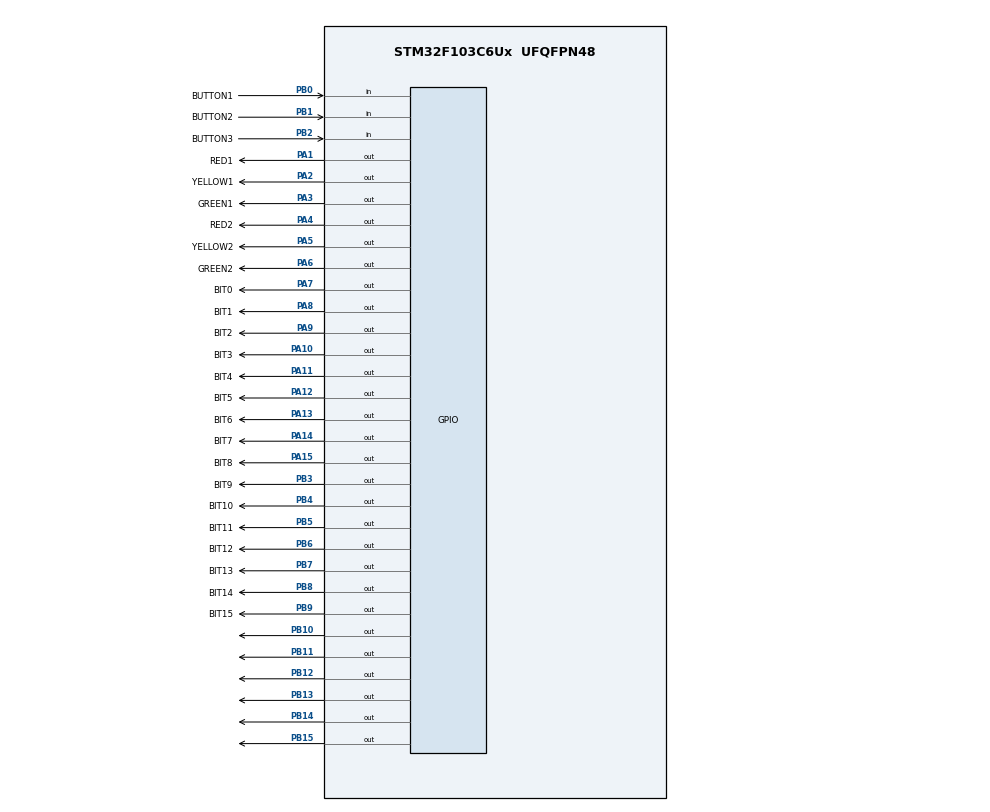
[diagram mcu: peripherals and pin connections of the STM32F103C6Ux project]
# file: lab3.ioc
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Mcu.Family=STM32F1
Mcu.Name=STM32F103C6Ux
Mcu.Package=UFQFPN48
NVIC.PriorityGroup=NVIC_PRIORITYGROUP_4
NVIC.TIM2_IRQn=true\:0\:0\:false\:false\:true\:true\:true
PA1.GPIO_Label=RED1
PA1.Signal=GPIO_Output
PA10.GPIO_Label=BIT3
PA10.Signal=GPIO_Output
PA11.GPIO_Label=BIT4
PA11.Signal=GPIO_Output
PA12.GPIO_Label=BIT5
PA12.Signal=GPIO_Output
PA13.GPIO_Label=BIT6
PA13.Signal=GPIO_Output
PA14.GPIO_Label=BIT7
PA14.Signal=GPIO_Output
PA15.GPIO_Label=BIT8
PA15.Signal=GPIO_Output
PA2.GPIO_Label=YELLOW1
PA2.Signal=GPIO_Output
PA3.GPIO_Label=GREEN1
PA3.Signal=GPIO_Output
PA4.GPIO_Label=RED2
PA4.Signal=GPIO_Output
PA5.GPIO_Label=YELLOW2
PA5.Signal=GPIO_Output
PA6.GPIO_Label=GREEN2
PA6.Signal=GPIO_Output
PA7.GPIO_Label=BIT0
PA7.Signal=GPIO_Output
PA8.GPIO_Label=BIT1
PA8.Signal=GPIO_Output
PA9.GPIO_Label=BIT2
PA9.Signal=GPIO_Output
PB0.GPIO_Label=BUTTON1
PB0.Signal=GPIO_Input
PB1.GPIO_Label=BUTTON2
PB1.Signal=GPIO_Input
PB10.Signal=GPIO_Output
PB11.Signal=GPIO_Output
PB12.Signal=GPIO_Output
PB13.Signal=GPIO_Output
PB14.Signal=GPIO_Output
PB15.Signal=GPIO_Output
PB2.GPIO_Label=BUTTON3
PB2.Signal=GPIO_Input
PB3.GPIO_Label=BIT9
PB3.Signal=GPIO_Output
PB4.GPIO_Label=BIT10
PB4.Signal=GPIO_Output
PB5.GPIO_Label=BIT11
PB5.Signal=GPIO_Output
PB6.GPIO_Label=BIT12
PB6.Signal=GPIO_Output
PB7.GPIO_Label=BIT13
PB7.Signal=GPIO_Output
PB8.GPIO_Label=BIT14
PB8.Signal=GPIO_Output
PB9.GPIO_Label=BIT15
PB9.Signal=GPIO_Output
ProjectManager.HeapSize=0x200
ProjectManager.StackSize=0x400
ProjectManager.TargetToolchain=STM32CubeIDE
RCC.APB1Freq_Value=8000000
RCC.APB2Freq_Value=8000000
TIM2.Period=9
TIM2.Prescaler=7999
VP_SYS_VS_ND.Mode=No_Debug
VP_TIM2_VS_ClockSourceINT.Mode=Internal
board=custom

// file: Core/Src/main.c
/* USER CODE BEGIN Header */
/**
  ******************************************************************************
  * @file           : main.c
  * @brief          : Main program body
  ******************************************************************************
  * @attention
  *
  * <h2><center>&copy; Copyright (c) 2024 STMicroelectronics.
  * All rights reserved.</center></h2>
  *
  * This software component is licensed by ST under BSD 3-Clause license,
  * the "License"; You may not use this file except in compliance with the
  * License. You may obtain a copy of the License at:
  *                        opensource.org/licenses/BSD-3-Clause
  *
  ******************************************************************************
  */
/* USER CODE END Header */
#include "main.h"
#include "software_timer.h"
#include "global.h"
#include"scheduler.h"

TIM_HandleTypeDef htim2;

void SystemClock_Config(void);
static void MX_GPIO_Init(void);
static void MX_TIM2_Init(void);
/* USER CODE BEGIN PFP */
void led_debug(void);
void led_debug1(void);
void led_debug2(void);
/* USER CODE END PFP */

int main(void)
{

  /* MCU Configuration--------------------------------------------------------*/

  /* Reset of all peripherals, Initializes the Flash interface and the Systick. */
  HAL_Init();

  /* Configure the system clock */
  SystemClock_Config();

  /* Initialize all configured peripherals */
  MX_GPIO_Init();
  MX_TIM2_Init();
  /* USER CODE BEGIN 2 */
  HAL_TIM_Base_Start_IT(&htim2);
  /* USER CODE END 2 */

  /* Infinite loop */
  /* USER CODE BEGIN WHILE */
//  SCH_Init();

//	  SCH_Add_Task(task_fsm_lane_0,0,10);  // Lên lịch cho lane 0
//    SCH_Add_Task(task_fsm_lane_1, 0,10);  // Lên lịch cho lane 1
SCH_Add_Task(fsm_manual_run, 0,10);
 SCH_Add_Task(getKeyinput1, 0, 10);
//
//  SCH_Add_Task(task_display_time_0,0,300);
//  SCH_Add_Task(task_display_time_1,0,300);

  		//  SCH_Add_Task(led_debug2,0,20);
  	 	//  SCH_Add_Task(led_debug,0,20);
  //SCH_Add_Task(led_debug1,0,20);
//  SCH_Add_Task(led_debug2,0,10);

  while (1)
  {

	  SCH_Dispatch_Task();
    /* USER CODE END WHILE */

  }
}

void SystemClock_Config(void)
{
  RCC_OscInitTypeDef RCC_OscInitStruct = {0};
  RCC_ClkInitTypeDef RCC_ClkInitStruct = {0};

  /** Initializes the RCC Oscillators according to the specified parameters
  * in the RCC_OscInitTypeDef structure.
  */
  RCC_OscInitStruct.OscillatorType = RCC_OSCILLATORTYPE_HSI;
  RCC_OscInitStruct.HSIState = RCC_HSI_ON;
  RCC_OscInitStruct.HSICalibrationValue = RCC_HSICALIBRATION_DEFAULT;
  RCC_OscInitStruct.PLL.PLLState = RCC_PLL_NONE;
  if (HAL_RCC_OscConfig(&RCC_OscInitStruct) != HAL_OK)
  {
    Error_Handler();
  }
  /** Initializes the CPU, AHB and APB buses clocks
  */
  RCC_ClkInitStruct.ClockType = RCC_CLOCKTYPE_HCLK|RCC_CLOCKTYPE_SYSCLK
                              |RCC_CLOCKTYPE_PCLK1|RCC_CLOCKTYPE_PCLK2;
  RCC_ClkInitStruct.SYSCLKSource = RCC_SYSCLKSOURCE_HSI;
  RCC_ClkInitStruct.AHBCLKDivider = RCC_SYSCLK_DIV1;
  RCC_ClkInitStruct.APB1CLKDivider = RCC_HCLK_DIV1;
  RCC_ClkInitStruct.APB2CLKDivider = RCC_HCLK_DIV1;

  if (HAL_RCC_ClockConfig(&RCC_ClkInitStruct, FLASH_LATENCY_0) != HAL_OK)
  {
    Error_Handler();
  }
}

static void MX_TIM2_Init(void)
{

  TIM_ClockConfigTypeDef sClockSourceConfig = {0};
  TIM_MasterConfigTypeDef sMasterConfig = {0};

  htim2.Instance = TIM2;
  htim2.Init.Prescaler = 7999;
  htim2.Init.CounterMode = TIM_COUNTERMODE_UP;
  htim2.Init.Period = 9;
  htim2.Init.ClockDivision = TIM_CLOCKDIVISION_DIV1;
  htim2.Init.AutoReloadPreload = TIM_AUTORELOAD_PRELOAD_DISABLE;
  if (HAL_TIM_Base_Init(&htim2) != HAL_OK)
  {
    Error_Handler();
  }
  sClockSourceConfig.ClockSource = TIM_CLOCKSOURCE_INTERNAL;
  if (HAL_TIM_ConfigClockSource(&htim2, &sClockSourceConfig) != HAL_OK)
  {
    Error_Handler();
  }
  sMasterConfig.MasterOutputTrigger = TIM_TRGO_RESET;
  sMasterConfig.MasterSlaveMode = TIM_MASTERSLAVEMODE_DISABLE;
  if (HAL_TIMEx_MasterConfigSynchronization(&htim2, &sMasterConfig) != HAL_OK)
  {
    Error_Handler();
  }

}
static void MX_GPIO_Init(void)
{
  GPIO_InitTypeDef GPIO_InitStruct = {0};

  /* GPIO Ports Clock Enable */
  __HAL_RCC_GPIOA_CLK_ENABLE();
  __HAL_RCC_GPIOB_CLK_ENABLE();

  /*Configure GPIO pin Output Level */
  HAL_GPIO_WritePin(GPIOA, RED1_Pin|YELLOW1_Pin|GREEN1_Pin|RED2_Pin
                          |YELLOW2_Pin|GREEN2_Pin|BIT0_Pin|BIT1_Pin
                          |BIT2_Pin|BIT3_Pin|BIT4_Pin|BIT5_Pin
                          |BIT6_Pin|BIT7_Pin|BIT8_Pin, GPIO_PIN_RESET);

  /*Configure GPIO pin Output Level */
  HAL_GPIO_WritePin(GPIOB, BIT9_Pin|BIT10_Pin|BIT11_Pin|BIT12_Pin
                          |BIT13_Pin|BIT14_Pin|BIT15_Pin, GPIO_PIN_RESET);

  /*Configure GPIO pins : RED1_Pin YELLOW1_Pin GREEN1_Pin RED2_Pin
                           YELLOW2_Pin GREEN2_Pin BIT0_Pin BIT1_Pin
                           BIT2_Pin BIT3_Pin BIT4_Pin BIT5_Pin
                           BIT6_Pin BIT7_Pin BIT8_Pin */
  GPIO_InitStruct.Pin = RED1_Pin|YELLOW1_Pin|GREEN1_Pin|RED2_Pin
                          |YELLOW2_Pin|GREEN2_Pin|BIT0_Pin|BIT1_Pin
                          |BIT2_Pin|BIT3_Pin|BIT4_Pin|BIT5_Pin
                          |BIT6_Pin|BIT7_Pin|BIT8_Pin;
  GPIO_InitStruct.Mode = GPIO_MODE_OUTPUT_PP;
  GPIO_InitStruct.Pull = GPIO_NOPULL;
  GPIO_InitStruct.Speed = GPIO_SPEED_FREQ_LOW;
  HAL_GPIO_Init(GPIOA, &GPIO_InitStruct);

  /*Configure GPIO pins : BUTTON1_Pin BUTTON2_Pin BUTTON3_Pin */
  GPIO_InitStruct.Pin = BUTTON1_Pin|BUTTON2_Pin|BUTTON3_Pin;
  GPIO_InitStruct.Mode = GPIO_MODE_INPUT;
  GPIO_InitStruct.Pull = GPIO_PULLUP;
  HAL_GPIO_Init(GPIOB, &GPIO_InitStruct);

  /*Configure GPIO pins : BIT9_Pin BIT10_Pin BIT11_Pin BIT12_Pin
                           BIT13_Pin BIT14_Pin BIT15_Pin */
  GPIO_InitStruct.Pin = BIT9_Pin|BIT10_Pin|BIT11_Pin|BIT12_Pin
                          |BIT13_Pin|BIT14_Pin|BIT15_Pin;
  GPIO_InitStruct.Mode = GPIO_MODE_OUTPUT_PP;
  GPIO_InitStruct.Pull = GPIO_NOPULL;
  GPIO_InitStruct.Speed = GPIO_SPEED_FREQ_LOW;
  HAL_GPIO_Init(GPIOB, &GPIO_InitStruct);

}

/* USER CODE BEGIN 4 */
void HAL_TIM_PeriodElapsedCallback(TIM_HandleTypeDef *htim){
	SCH_Update();
}
void led_debug(void){
	HAL_GPIO_TogglePin(GPIOA, GPIO_PIN_1);
}
void led_debug1(void){
	HAL_GPIO_TogglePin(GPIOA, GPIO_PIN_3);
}
void led_debug2(void){
	HAL_GPIO_TogglePin(GPIOA, GPIO_PIN_2);
}
/* USER CODE END 4 */

void Error_Handler(void)
{
  __disable_irq();
  while (1)
  {
  }
}

/************************ (C) COPYRIGHT STMicroelectronics *****END OF FILE****/
